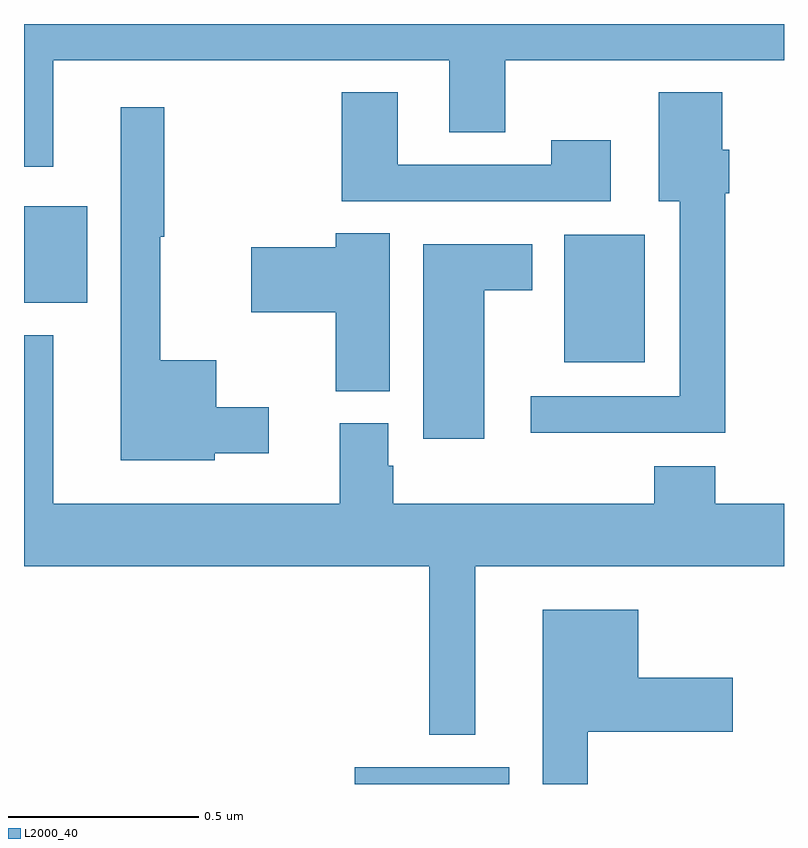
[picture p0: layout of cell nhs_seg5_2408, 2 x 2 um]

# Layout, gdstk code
import gdstk
lib = gdstk.Library(unit=1e-6, precision=1e-09)
def R(c, l, rs):  # rectangles x0, y0, x1, y1
    for r in rs: c.add(gdstk.rectangle(r[:2], r[2:], *l))
def P(c, l, *ps):  # polygons
    for p in ps: c.add(gdstk.Polygon(p, *l))
L2000_40 = (2000, 40)

nhs_seg5_2408 = lib.new_cell('nhs_seg5_2408')
R(nhs_seg5_2408, L2000_40, [(143.871,910.799,144.277,910.843), (144.422,911.909,144.634,912.244), (143,912.065,143.167,912.319)])
P(nhs_seg5_2408, L2000_40, [(143.077,912.704),(144.119,912.704),(144.119,912.514),(144.267,912.514),(144.267,912.704),(145,912.704),(145,912.799),(143,912.799),(143,912.423),(143.077,912.423)],
  [(144.846,912.354),(144.856,912.354),(144.856,912.468),(144.838,912.468),(144.838,912.619),(144.671,912.619),(144.671,912.332),(144.725,912.332),(144.725,911.82),(144.333,911.82),(144.333,911.723),(144.846,911.723)],
  [(144.544,912.493),(144.388,912.493),(144.388,912.429),(143.983,912.429),(143.983,912.619),(143.836,912.619),(143.836,912.333),(144.544,912.333)],
  [(143.502,911.669),(143.644,911.669),(143.644,911.791),(143.506,911.791),(143.506,911.914),(143.359,911.914),(143.359,912.239),(143.369,912.239),(143.369,912.58),(143.255,912.58),(143.255,911.651),(143.502,911.651)],
  [(143.962,912.248),(143.821,912.248),(143.821,912.212),(143.598,912.212),(143.598,912.041),(143.821,912.041),(143.821,911.833),(143.962,911.833)],
  [(144.211,912.098),(144.337,912.098),(144.337,912.22),(144.05,912.22),(144.05,911.708),(144.211,911.708)],
  [(144.187,911.372),(145,911.372),(145,911.536),(144.819,911.536),(144.819,911.635),(144.659,911.635),(144.659,911.536),(143.972,911.536),(143.972,911.637),(143.959,911.637),(143.959,911.748),(143.831,911.748),(143.831,911.536),(143.077,911.536),(143.077,911.98),(143,911.98),(143,911.372),(144.066,911.372),(144.066,910.928),(144.187,910.928)],
  [(144.484,910.937),(144.865,910.937),(144.865,911.079),(144.616,911.079),(144.616,911.257),(144.365,911.257),(144.365,910.799),(144.484,910.799)])

lib.write_gds('nhs_seg5_2408.gds')
